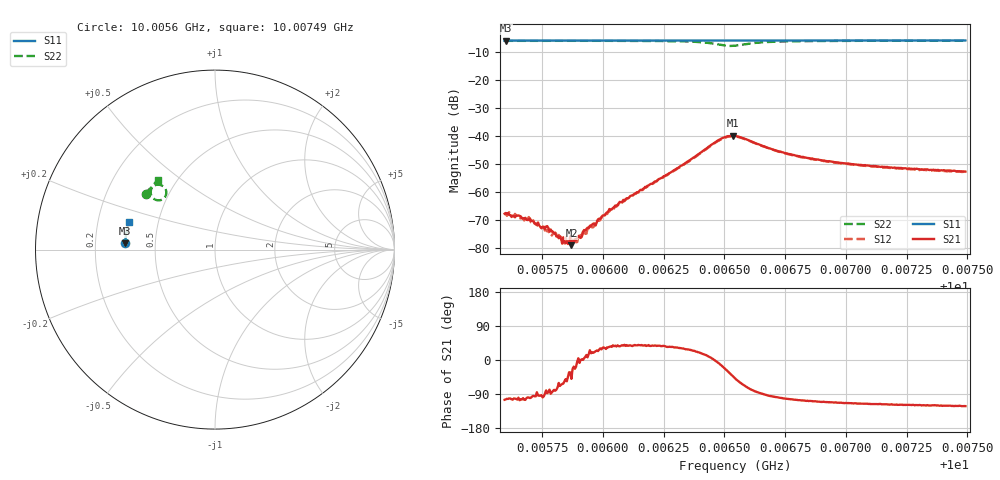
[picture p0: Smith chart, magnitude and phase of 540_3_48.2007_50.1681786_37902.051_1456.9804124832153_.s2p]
#  HZ  S  RI  R  50.00
! Rohde & Schwarz Vector Network Analyzer
! Rohde-Schwarz,ZNB20-2Port,1311601062101988,3.16
! Created: UTC 3/20/2024, 12:00:15 PM
! freq[Hz]  re:S11  im:S11  re:S21  im:S21  re:S12  im:S12  re:S22  im:S22
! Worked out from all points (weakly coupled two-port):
!   401 points, 10.0056 GHz to 10.00749 GHz, reference 50 ohm
!   highest |S21| = -39.94 dB at 10.00653 GHz (marker M1); lowest = -79.0 dB at 10.00587 GHz (marker M2)
!   lowest |S11| = -6.0 dB at 10.0056 GHz (marker M3), VSWR 3.01, Z = 16.6 + j1.58 ohm
!   |S11| at or under -10 dB: nowhere
!   |S22| runs from -7.9 to -6.0 dB; largest |S21 - S12| = 0.00064
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1.0005596e10  -0.5001 0.0354  -0.000106 -0.000397  -7.92e-05 -0.000418  -0.3867 0.3119
1.0005601e10  -0.5 0.0356  -0.000102 -0.000411  -6.01e-05 -0.0004  -0.3865 0.3122
1.0005691e10  -0.4996 0.0415  -4.85e-05 -0.000312  -3.05e-05 -0.000318  -0.3823 0.3176
1.0005752e10  -0.4995 0.0455  -3.57e-05 -0.000235  3.05e-05 -0.000239  -0.3793 0.3214
1.0005776e10  -0.4994 0.0471  2.2e-05 -0.000227  3.07e-05 -0.000213  -0.3782 0.3229
1.0005838e10  -0.4992 0.0511  7.25e-05 -0.000138  0.000102 -0.000107  -0.375 0.3267
1.0005861e10  -0.4991 0.0526  0.000109 -6.91e-05  0.000101 -8.44e-05  -0.3738 0.328
1.0005871e10  -0.4991 0.0533  7.24e-05 -8.57e-05  7.78e-05 -7.55e-05  -0.3733 0.3286
1.000588e10  -0.4989 0.0538  0.000123 -3.88e-05  0.000154 -4.05e-05  -0.3727 0.3293
1.0005914e10  -0.4988 0.0561  0.000159 5.19e-06  0.000163 2.18e-05  -0.3708 0.3315
1.0005928e10  -0.4988 0.0569  0.000205 2.87e-05  0.000181 5.36e-05  -0.3699 0.3324
1.0006004e10  -0.4984 0.0618  0.000321 0.00021  0.000293 0.000243  -0.3651 0.3375
1.0006075e10  -0.4978 0.0666  0.000521 0.000401  0.000507 0.000402  -0.36 0.3423
1.0006231e10  -0.4966 0.0767  0.00136 0.00105  0.00129 0.00106  -0.3443 0.3541
1.0006331e10  -0.4956 0.0831  0.00266 0.00156  0.00253 0.00165  -0.3264 0.3608
1.0006473e10  -0.4937 0.0922  0.00822 -0.000917  0.00805 -0.000463  -0.2737 0.332
1.0006535e10  -0.493 0.0955  0.00741 -0.00682  0.00761 -0.00625  -0.2912 0.2808
1.0006544e10  -0.493 0.0959  0.00662 -0.00748  0.00688 -0.00695  -0.2994 0.2768
1.0006715e10  -0.4919 0.1068  -0.000765 -0.00545  -0.000508 -0.00537  -0.3584 0.3204
1.0006862e10  -0.4901 0.1162  -0.00126 -0.00378  -0.00108 -0.00371  -0.3524 0.3446
1.0007179e10  -0.4857 0.1364  -0.00127 -0.00243  -0.00111 -0.00245  -0.3346 0.3706
1.0007492e10  -0.4804 0.1559  -0.00122 -0.00197  -0.00113 -0.002  -0.318 0.388
